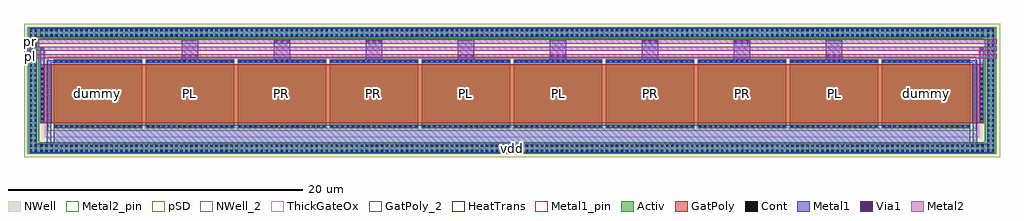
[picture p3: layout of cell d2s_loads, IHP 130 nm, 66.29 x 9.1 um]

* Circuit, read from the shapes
.subckt d2s_loads l2 pl pr vdd
XM1 vdd l2 vdd vdd sg13_hv_pmos w=6u l=4u m=2
XM2 pl l2 vdd vdd sg13_hv_pmos w=6u l=4u m=4
XM3 pr l2 vdd vdd sg13_hv_pmos w=6u l=4u m=4
.ends

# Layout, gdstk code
from math import pi, radians
import gdstk
lib = gdstk.Library(unit=1e-6, precision=1e-09)
def R(c, l, rs):  # rectangles x0, y0, x1, y1
    for r in rs: c.add(gdstk.rectangle(r[:2], r[2:], *l))
def A(c, l, x, y, w, h, nx, ny, dx, dy):  # array of equal rectangles
    R(c, l, [(x+i*dx, y+j*dy, x+i*dx+w, y+j*dy+h) for i in range(nx) for j in range(ny)])
Activ = (1, 0)
GatPoly = (5, 0)
GatPoly_2 = (5, 2)
Cont = (6, 0)
Metal1 = (8, 0)
Metal1_pin = (8, 2)
Metal2 = (10, 0)
Metal2_pin = (10, 2)
pSD = (14, 0)
Via1 = (19, 0)
NWell = (31, 0)
NWell_2 = (31, 2)
ThickGateOx = (44, 0)
HeatTrans = (51, 0)

pmoshv_2 = lib.new_cell('pmosHV$2')
R(pmoshv_2, Activ, [(0,0,0.3,0.3), (0,0,4.68,6), (4.38,0,4.68,0.3)])
R(pmoshv_2, GatPoly, [(0.34,-0.18,4.34,6.18)])
R(pmoshv_2, GatPoly_2, [(0.34,-0.18,4.34,6.18)])
A(pmoshv_2, Cont, 0.07, 0.07, 0.16, 0.16, 1, 4, 0, 0.355)
A(pmoshv_2, Cont, 4.45, 0.07, 0.16, 0.16, 1, 4, 0, 0.355)
A(pmoshv_2, Cont, 0.07, 1.495, 0.16, 0.16, 1, 4, 0, 0.355)
A(pmoshv_2, Cont, 4.45, 1.495, 0.16, 0.16, 1, 4, 0, 0.355)
A(pmoshv_2, Cont, 0.07, 2.92, 0.16, 0.16, 1, 4, 0, 0.355)
A(pmoshv_2, Cont, 4.45, 2.92, 0.16, 0.16, 1, 4, 0, 0.355)
A(pmoshv_2, Cont, 0.07, 4.345, 0.16, 0.16, 1, 4, 0, 0.355)
A(pmoshv_2, Cont, 4.45, 4.345, 0.16, 0.16, 1, 4, 0, 0.355)
R(pmoshv_2, Cont, [(0.07,5.77,0.23,5.93), (4.45,5.77,4.61,5.93)])
R(pmoshv_2, Metal1, [(0.07,0,0.23,6), (4.45,0,4.61,6)])
R(pmoshv_2, Metal1_pin, [(0.07,0,0.23,6), (4.45,0,4.61,6)])
R(pmoshv_2, pSD, [(-0.18,-0.4,4.86,6.4)])
R(pmoshv_2, NWell, [(-0.62,-0.62,5.3,6.62)])
R(pmoshv_2, ThickGateOx, [(-0.62,-0.62,5.3,6.62)])
R(pmoshv_2, HeatTrans, [(0.34,-0.18,4.34,6.18)])
pmoshv_2.add(gdstk.Label('pmosHV', (2.34,3), layer=63, texttype=0))
pmoshv_2.add(gdstk.Label('pmos', (2.34,3), layer=51, texttype=0))

ntap1_24 = lib.new_cell('ntap1$24')
R(ntap1_24, Activ, [(0,0,0.78,8.62)])
A(ntap1_24, Cont, 0.14, 0.15, 0.16, 0.16, 1, 25, 0, 0.34)
A(ntap1_24, Cont, 0.48, 0.15, 0.16, 0.16, 1, 25, 0, 0.34)
R(ntap1_24, Metal1, [(0.14,0.1,0.64,8.52)])
R(ntap1_24, Metal1_pin, [(0.14,0.1,0.64,8.52), (0.14,0.15,0.64,8.47)])
R(ntap1_24, NWell, [(-0.24,-0.24,1.02,8.86), (0,0,0.78,8.62)])
R(ntap1_24, NWell_2, [(0,0,0.78,8.62)])
ntap1_24.add(gdstk.Label('well', (0.39,0.01), layer=63, texttype=0))
ntap1_24.add(gdstk.Label('well', (0.39,0.01), layer=31, texttype=0))

ntap1_25 = lib.new_cell('ntap1$25')
R(ntap1_25, Activ, [(0,0,64.25,0.78)])
A(ntap1_25, Cont, 0.085, 0.14, 0.16, 0.16, 189, 2, 0.34, 0.34)
R(ntap1_25, Metal1, [(0.085,0.09,64.165,0.69)])
R(ntap1_25, Metal1_pin, [(0.085,0.09,64.165,0.69), (0.085,0.14,64.165,0.64)])
R(ntap1_25, NWell, [(-0.24,-0.24,64.49,1.02), (0,0,64.25,0.78)])
R(ntap1_25, NWell_2, [(0,0,64.25,0.78)])
ntap1_25.add(gdstk.Label('well', (32.125,0.01), layer=63, texttype=0))
ntap1_25.add(gdstk.Label('well', (32.125,0.01), layer=31, texttype=0))

d2s_loads = lib.new_cell('d2s_loads')
R(d2s_loads, GatPoly, [(-0.93,0.34,-0.18,4.34), (62.43,0.34,63.18,4.34)])
A(d2s_loads, Cont, -0.86, 0.56, 0.16, 0.16, 1, 11, 0, 0.34)
A(d2s_loads, Cont, 62.95, 0.56, 0.16, 0.16, 1, 11, 0, 0.34)
A(d2s_loads, Metal1, 8.695, 4.45, 1.11, 1.52, 8, 1, 6.25, 0)
R(d2s_loads, Metal1, [(-1.64,-1.65,63.89,-1.64), (-1.24,-1.65,-0.815,-1.05), (0,-1.65,62.25,0.23), (63.065,-1.65,63.49,-1.05), (-0.47,-1.15,-0.18,4.61), (62.43,-1.15,62.72,4.61), (-0.91,0.43,-0.65,5.555), (62.9,0.43,63.16,5.555), (-0.47,4.45,0.1,4.61), (62.15,4.45,62.72,4.61), (-1.24,6.19,-0.815,6.79), (63.065,6.19,63.49,6.79), (-1.64,6.78,63.89,6.79)])
R(d2s_loads, Metal1_pin, [(-0.915,-1.65,63.165,-1.05)])
A(d2s_loads, Metal2_pin, -1.81, 4.755, 0.4, 0.29, 1, 3, 0, 0.5)
A(d2s_loads, Via1, 8.745, 4.805, 0.19, 0.19, 3, 1, 0.41, 0)
A(d2s_loads, Via1, 27.495, 4.805, 0.19, 0.19, 3, 1, 0.41, 0)
A(d2s_loads, Via1, 33.745, 4.805, 0.19, 0.19, 3, 1, 0.41, 0)
A(d2s_loads, Via1, 52.495, 4.805, 0.19, 0.19, 3, 1, 0.41, 0)
A(d2s_loads, Via1, 14.995, 5.77, 0.19, 0.19, 3, 1, 0.41, 0)
A(d2s_loads, Via1, 21.245, 5.77, 0.19, 0.19, 3, 1, 0.41, 0)
A(d2s_loads, Via1, 39.995, 5.77, 0.19, 0.19, 3, 1, 0.41, 0)
A(d2s_loads, Via1, 46.245, 5.77, 0.19, 0.19, 3, 1, 0.41, 0)
R(d2s_loads, Via1, [(-0.875,5.305,-0.685,5.495), (62.935,5.305,63.125,5.495)])
R(d2s_loads, NWell, [(-2.02,-1.98,64.27,7.12)])
R(d2s_loads, ThickGateOx, [(-0.62,-0.62,62.87,5.3)])
d2s_loads.add(gdstk.FlexPath([(-1.665,4.9),(63.915,4.9)], 0.29, ends="extended", simple_path=True, layer=10, datatype=0))  # Metal2
d2s_loads.add(gdstk.FlexPath([(-1.665,5.4),(63.915,5.4)], 0.29, ends="extended", simple_path=True, layer=10, datatype=0))  # Metal2
d2s_loads.add(gdstk.FlexPath([(-1.665,5.9),(63.915,5.9)], 0.29, ends="extended", simple_path=True, layer=10, datatype=0))  # Metal2
r = gdstk.Reference(pmoshv_2, (0,4.68), rotation=3*pi/2); r.repetition = gdstk.Repetition(1, 10, v1=(0,0), v2=(6.25,0)); d2s_loads.add(r)
d2s_loads.add(gdstk.Reference(ntap1_24, (-1.78,-1.74)))
d2s_loads.add(gdstk.Reference(ntap1_24, (63.25,-1.74)))
d2s_loads.add(gdstk.Reference(ntap1_25, (-1,6.1)))
d2s_loads.add(gdstk.Reference(ntap1_25, (-1,-1.74)))
d2s_loads.add(gdstk.Label('dummy', (3,2.34), layer=63, texttype=0))
d2s_loads.add(gdstk.Label('PL', (9.25,2.34), layer=63, texttype=0))
d2s_loads.add(gdstk.Label('PR', (15.5,2.34), layer=63, texttype=0))
d2s_loads.add(gdstk.Label('PR', (21.75,2.34), layer=63, texttype=0))
d2s_loads.add(gdstk.Label('PL', (28,2.34), layer=63, texttype=0))
d2s_loads.add(gdstk.Label('PL', (34.25,2.34), layer=63, texttype=0))
d2s_loads.add(gdstk.Label('PR', (40.5,2.34), layer=63, texttype=0))
d2s_loads.add(gdstk.Label('PR', (46.75,2.34), layer=63, texttype=0))
d2s_loads.add(gdstk.Label('PL', (53,2.34), layer=63, texttype=0))
d2s_loads.add(gdstk.Label('dummy', (59.25,2.34), layer=63, texttype=0))
d2s_loads.add(gdstk.Label('vdd', (31.125,-1.35), layer=8, texttype=25))
d2s_loads.add(gdstk.Label('pl', (-1.61,4.9), layer=10, texttype=25))
d2s_loads.add(gdstk.Label('l2', (-1.61,5.4), layer=10, texttype=25))
d2s_loads.add(gdstk.Label('pr', (-1.61,5.9), layer=10, texttype=25))

lib.write_gds('d2s_loads.gds')
